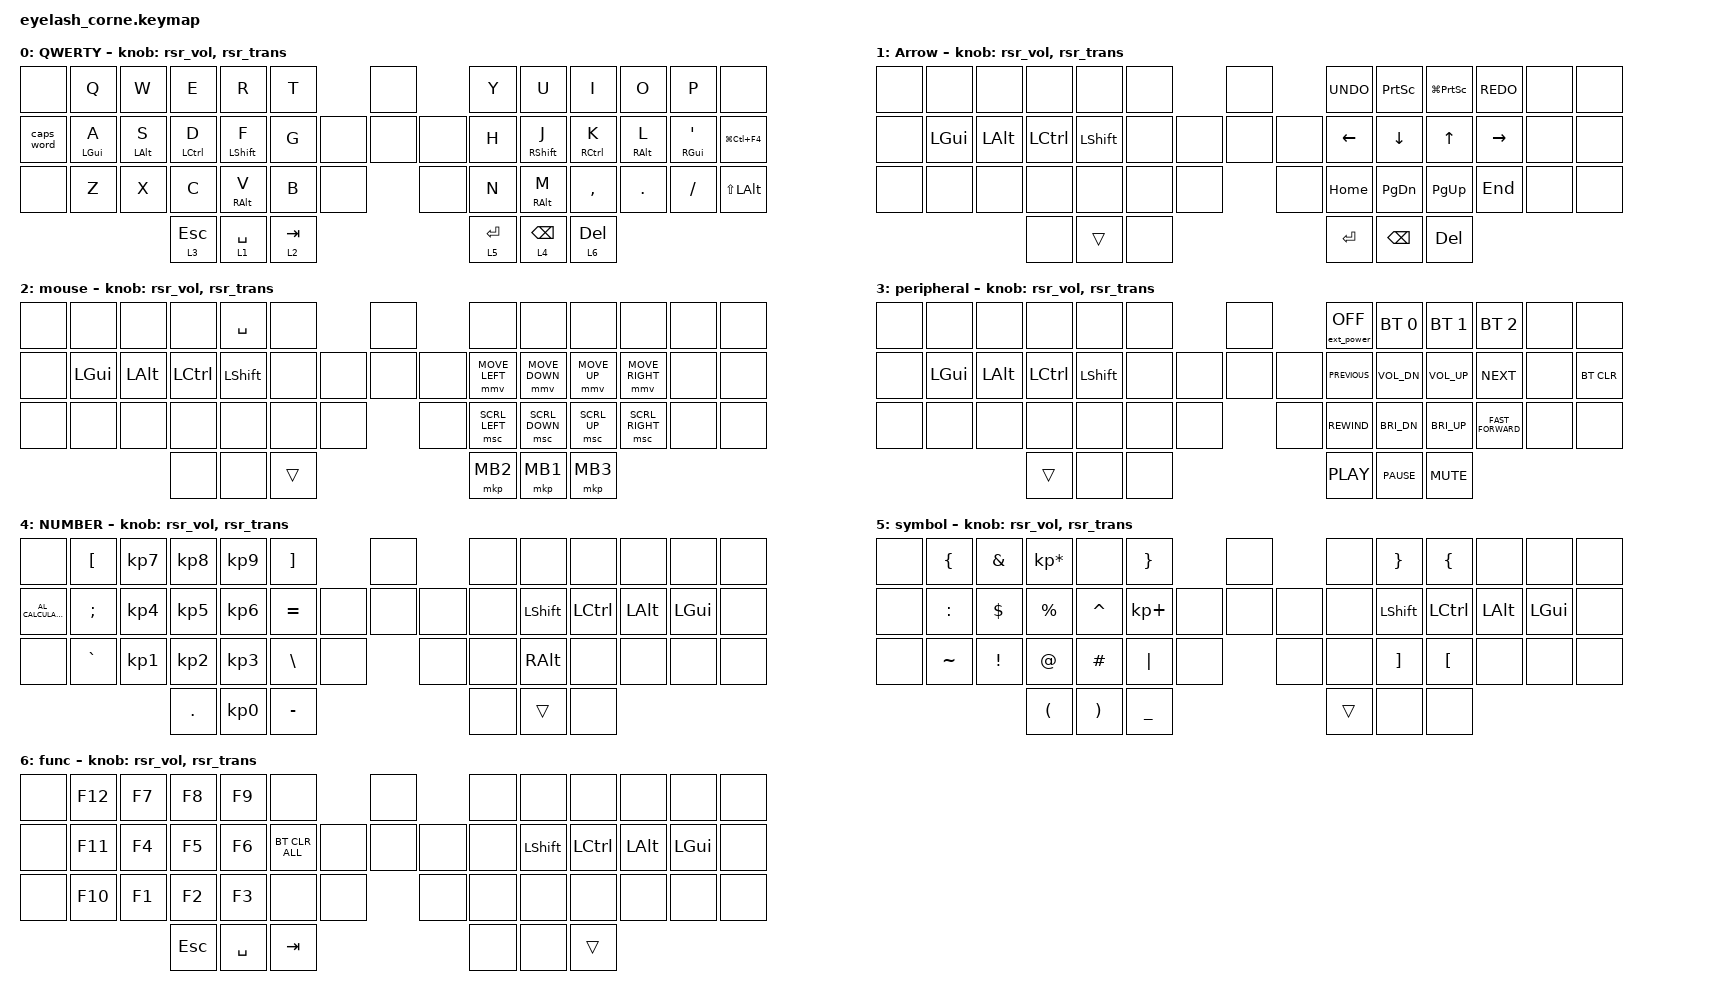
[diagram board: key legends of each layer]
#define ZMK_POINTING_DEFAULT_MOVE_VAL 4500
#define ZMK_POINTING_DEFAULT_SCRL_VAL 220
#define HRM_TAP_TERM_MS 270
#define HRM_QUICK_TAP_MS 125
#define HRM_REQUIRE_PRIOR_IDLE_MS 125
#define LAYER_TAP_TERM_MS 140

#include <input/processors.dtsi>
#include <zephyr/dt-bindings/input/input-event-codes.h>
#include <behaviors.dtsi>
#include <behaviors/runtime-sensor-rotate.dtsi>
#include <dt-bindings/zmk/bt.h>
#include <dt-bindings/zmk/keys.h>
#include <dt-bindings/zmk/outputs.h>
#include <dt-bindings/zmk/ext_power.h>
#include <dt-bindings/zmk/pointing.h>
#include <dt-bindings/zmk/rgb.h>

&mmv_input_listener { input-processors = <&zip_xy_scaler 2 1>; };

&msc_input_listener { input-processors = <&zip_scroll_scaler 2 1>; };

&msc {
    acceleration-exponent = <2>;
    time-to-max-speed-ms = <900>;
    delay-ms = <0>;
};

&mmv {
    acceleration-exponent = <1>;
    time-to-max-speed-ms = <1250>;
    trigger-period-ms = <16>;
};

&soft_off { hold-time-ms = <2000>; };

&mt {
    tapping-term-ms = <160>;
    quick-tap-ms = <0>;
};

&lt {
    tapping-term-ms = <140>;
    quick-tap-ms = <0>;
};

&caps_word { continue-list = <UNDERSCORE MINUS BACKSPACE DELETE SEMI>; };

/* ── Key position groups for positional hold-tap ─────────────
 *
 *  ╭────────────────────────╮                 ╭────────────────────────╮
 *  │  0   1   2   3   4   5 │       6         │  7   8   9  10  11  12 │
 *  │ 13  14  15  16  17  18 │  19  20  21     │ 22  23  24  25  26  27 │
 *  │ 28  29  30  31  32  33 │ 34      35      │ 36  37  38  39  40  41 │
 *  ╰───────────╮ 42  43  44 │                 │ 45  46  47 ╭───────────╯
 *              ╰────────────╯                 ╰────────────╯
 */

#define KEYS_L 0  1  2  3  4  5  13 14 15 16 17 18 28 29 30 31 32 33 34
#define KEYS_R 6  7  8  9  10 11 12 19 20 21 22 23 24 25 26 27 35 36 37 38 39 40 41
#define THUMBS 42 43 44 45 46 47

/ {
    behaviors {
        hml: hml {
            compatible = "zmk,behavior-hold-tap";
            #binding-cells = <2>;
            flavor = "balanced";
            tapping-term-ms = <270>;
            quick-tap-ms = <125>;
            require-prior-idle-ms = <125>;
            bindings = <&kp>, <&kp>;

            hold-trigger-key-positions = <KEYS_R THUMBS>;
            hold-trigger-on-release;
        };

        hmr: hmr {
            compatible = "zmk,behavior-hold-tap";
            #binding-cells = <2>;
            flavor = "balanced";
            tapping-term-ms = <270>;
            quick-tap-ms = <125>;
            require-prior-idle-ms = <125>;
            bindings = <&kp>, <&kp>;

            hold-trigger-key-positions = <KEYS_L THUMBS>;
            hold-trigger-on-release;
        };

        td0: td0 {
            compatible = "zmk,behavior-tap-dance";
            display-name = "Shift/Caps Lock Tap Dance";
            #binding-cells = <0>;
            bindings = <&kp LEFT_SHIFT>, <&kp CAPS>;
        };

        rsr_vol: rsr_vol {
            compatible = "zmk,behavior-runtime-sensor-rotate";
            #sensor-binding-cells = <0>;
            tap-ms = <5>;
            cw-binding = <&kp C_VOL_UP>;
            ccw-binding = <&kp C_VOL_DN>;
        };

        rsr_trans: rsr_trans {
            compatible = "zmk,behavior-runtime-sensor-rotate";
            #sensor-binding-cells = <0>;
            tap-ms = <0>;
        };
    };

    combos { compatible = "zmk,combos"; };

    keymap {
        compatible = "zmk,keymap";

        default_layer {
            display-name = "QWERTY";
            bindings = <
&none       &kp Q            &kp W            &kp E         &kp R        &kp T                 &none         &kp Y        &kp U         &kp I         &kp O        &kp P          &none
&caps_word  &hml LGUI A      &hml LALT S      &hml LCTRL D  &hml LSHFT F &kp G          &none  &none  &none  &kp H        &hmr RSHFT J  &hmr RCTRL K  &hmr RALT L  &hmr RGUI SQT &kp LG(LC(F4))
&none       &kp Z            &kp X            &kp C         &hml RALT V  &kp B &none           &none         &kp N        &hmr RALT M   &kp COMMA     &kp  PERIOD  &kp  SLASH     &kp LS(LALT)
                                              &lt 3 ESCAPE  &lt 1 SPACE  &lt 2 TAB                           &lt 5 ENTER  &lt 4 BACKSPACE     &lt 6 DELETE
            >;

            sensor-bindings = <&rsr_vol &rsr_trans>;
        };

        arrow {
            display-name = "Arrow";
            bindings = <
&none  &none     &none     &none      &none       &none                  &none         &kp K_UNDO      &kp PRINTSCREEN  &kp LG(PRINTSCREEN)  &kp K_REDO  &none  &none
&none  &kp LGUI  &kp LALT  &kp LCTRL  &kp LSHIFT  &none           &none  &none  &none  &kp LEFT_ARROW  &kp DOWN_ARROW   &kp UP_ARROW         &kp RIGHT   &none  &none
&none  &none     &none     &none      &none       &none  &none           &none         &kp HOME        &kp PAGE_DOWN    &kp PAGE_UP          &kp END     &none  &none
                           &none      &trans      &none                                &kp ENTER       &kp BACKSPACE    &kp DELETE
            >;

            label = "arrow";
            sensor-bindings = <&rsr_vol &rsr_trans>;
        };

        mouse {
            bindings = <
&none  &none     &none     &none      &kp SPACE  &none                   &none         &none           &none           &none         &none            &none  &none
&none  &kp LGUI  &kp LALT  &kp LCTRL  &kp LSHFT  &none            &none  &none  &none  &mmv MOVE_LEFT  &mmv MOVE_DOWN  &mmv MOVE_UP  &mmv MOVE_RIGHT  &none  &none
&none  &none     &none     &none      &none      &none   &none           &none         &msc SCRL_LEFT  &msc SCRL_DOWN  &msc SCRL_UP  &msc SCRL_RIGHT  &none  &none
                           &none      &none      &trans                                &mkp MB2        &mkp MB1        &mkp MB3
            >;

            label = "mouse";
            sensor-bindings = <&rsr_vol &rsr_trans>;
        };

        peripheral {
            bindings = <
&none  &none     &none     &none      &none      &none                  &none         &ext_power EP_OFF  &bt BT_SEL 0  &bt BT_SEL 1  &bt BT_SEL 2        &none  &none
&none  &kp LGUI  &kp LALT  &kp LCTRL  &kp LSHFT  &none           &none  &none  &none  &kp C_PREVIOUS     &kp C_VOL_DN  &kp C_VOL_UP  &kp C_NEXT          &none  &bt BT_CLR
&none  &none     &none     &none      &none      &none  &none           &none         &kp C_REWIND       &kp C_BRI_DN  &kp C_BRI_UP  &kp C_FAST_FORWARD  &none  &none
                           &trans     &none      &none                                &kp C_PLAY         &kp C_PAUSE   &kp C_MUTE
            >;

            label = "peripheral";
            sensor-bindings = <&rsr_vol &rsr_trans>;
        };

        number {
            display-name = "NUMBER";
            bindings = <
&none                &kp LBKT   &kp KP_NUMBER_7  &kp KP_NUMBER_8  &kp KP_NUMBER_9  &kp RBKT                       &none         &none  &none       &none      &none     &none     &none
&kp C_AL_CALCULATOR  &kp SEMI   &kp KP_NUMBER_4  &kp KP_NUMBER_5  &kp KP_NUMBER_6  &kp EQUAL               &none  &none  &none  &none  &kp LSHIFT  &kp LCTRL  &kp LALT  &kp LGUI  &none
&none                &kp GRAVE  &kp KP_NUMBER_1  &kp KP_NUMBER_2  &kp KP_NUMBER_3  &kp BACKSLASH  &none           &none         &none  &kp RALT    &none      &none     &none     &none
                                                 &kp DOT          &kp KP_NUMBER_0  &kp MINUS                                    &none  &trans      &none
            >;

            sensor-bindings = <&rsr_vol &rsr_trans>;
        };

        symbol {
            bindings = <
&none  &kp LBRC   &kp AMPERSAND    &kp KP_ASTERISK       &none                  &kp RBRC                     &none         &none   &kp RBRC    &kp LBRC   &none     &none     &none
&none  &kp COLON  &kp DOLLAR       &kp PERCENT           &kp CARET              &kp KP_PLUS           &none  &none  &none  &none   &kp LSHIFT  &kp LCTRL  &kp LALT  &kp LGUI  &none
&none  &kp TILDE  &kp EXCLAMATION  &kp AT                &kp HASH               &kp PIPE     &none           &none         &none   &kp RBKT    &kp LBKT   &none     &none     &none
                                   &kp LEFT_PARENTHESIS  &kp RIGHT_PARENTHESIS  &kp UNDER                                  &trans  &none       &none
            >;

            label = "symbol";
            sensor-bindings = <&rsr_vol &rsr_trans>;
        };

        func {
            bindings = <
&none  &kp F12  &kp F7  &kp F8      &kp F9     &none                           &none         &none  &none       &none      &none     &none     &none
&none  &kp F11  &kp F4  &kp F5      &kp F6     &bt BT_CLR_ALL           &none  &none  &none  &none  &kp LSHIFT  &kp LCTRL  &kp LALT  &kp LGUI  &none
&none  &kp F10  &kp F1  &kp F2      &kp F3     &none           &none           &none         &none  &none       &none      &none     &none     &none
                        &kp ESCAPE  &kp SPACE  &kp TAB                                       &none  &none       &trans
            >;

            label = "func";
            sensor-bindings = <&rsr_vol &rsr_trans>;
        };
    };
};
